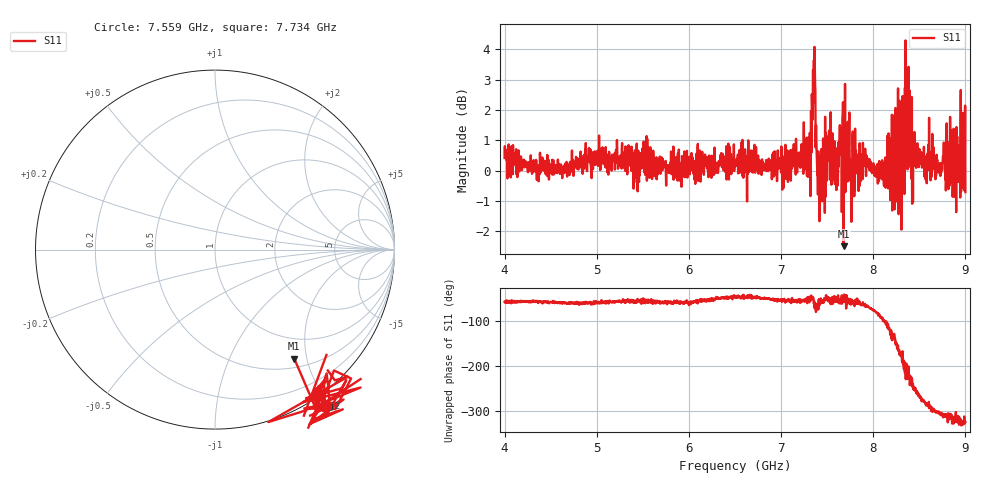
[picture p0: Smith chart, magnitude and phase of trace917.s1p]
! Created with skrf 1.8.0 (http://scikit-rf.org).
# Hz S RI R 50.0
!freq ReS11 ImS11
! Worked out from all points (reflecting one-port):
!   1601 points, 4 GHz to 9 GHz, reference 50 ohm
!   lowest |S11| = -2.5 dB at 7.678 GHz (marker M1), VSWR 7.01, Z = 32.1 - j89.2 ohm
!   phase of S11 starts at -58 deg and turns -268 deg over the sweep
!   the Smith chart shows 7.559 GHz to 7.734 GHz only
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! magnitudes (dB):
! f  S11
! 4 GHz  0.4
! 4.625 GHz  -0.2
! 5.25 GHz  0.3
! 5.875 GHz  -0.3
! 6.5 GHz  0.1
! 7.125 GHz  0.3
! 7.306 GHz  0.4
! 7.359 GHz  2.7
! 7.4 GHz  -0.8
! 7.425 GHz  -0.1
! 7.503 GHz  1.1
! 7.591 GHz  -0.4
! 7.65 GHz  0.8
! 7.678 GHz  -2.5
! 7.75 GHz  -0.2
! 7.775 GHz  1.1
! 7.891 GHz  0.2
! 8.097 GHz  0.3
! 8.209 GHz  -0.1
! 8.259 GHz  0.6
! 8.284 GHz  2.3
! 8.316 GHz  1.6
! 8.334 GHz  0.2
! 8.375 GHz  1.9
! 8.447 GHz  1.3
! 8.722 GHz  0.2
! 8.972 GHz  0.9
! 9 GHz  -0.7
